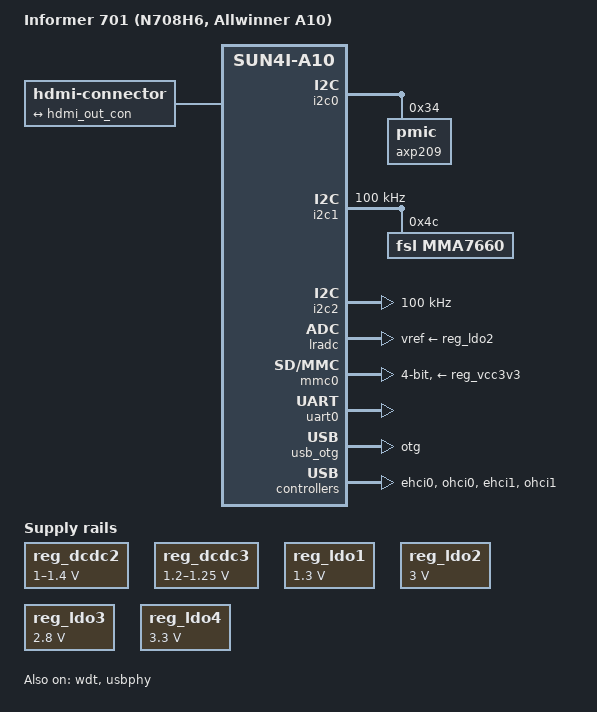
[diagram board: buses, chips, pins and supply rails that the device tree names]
// SPDX-License-Identifier: GPL-2.0+
/*
 * Device tree for the "Informer 701" 7" tablet board
 * (mainboard N708H6 / Allwinner "PAD_MAINCHIP_STD" reference design, rev V1.4)
 *
 * Hardware as read out of the vendor schematic (Shematic.pdf, N708H6):
 *   SoC    : Allwinner A10 (sun4i), FBGA441
 *   PMIC   : X-Powers AXP209 on TWI0 (PB0/PB1), IRQ -> NMI
 *   DRAM   : 4x 1Gbit x8 DDR3 (H5TQ1G83BFR / K4B1G0846E) = 512 MiB, 32 bit bus
 *   NAND   : Samsung K9HCG08U0M (MLC, 4 CE) on NFC
 *   UART0  : PB22/PB23 -> test points TP20 (TX) / TP21 (RX), 115200 8N1
 *   mmc0   : external microSD (TF_CARD), PF0-PF5, card detect PH1 (SD0-DET#)
 *   keys   : LRADC0 ladder NEXT/PREV/VOL+/VOL-/HOME/ESC/ENTER
 *   power  : AXP209 PWRON <- POWER button, UBOOT_SEL pin -> "UBOOT" button (FEL)
 *
 * Console-only configuration: LCD/camera/NAND are intentionally left disabled.
 *
 * Enabled here on purpose (b021+):
 *   TWI1  (PB18/PB19) - accelerometer MMA7660FC (U48) at 0x4c, sheet P16
 *   TWI2  (PB20/PB21) - capacitive touch controller (U24), sheet P17
 *   USB0  - OTG: gadget networking + SSH over the same micro-USB cable
 *   USB2  - host port wired to the desoldered WM-294 WiFi module footprint
 *           (DP2/DM2); VBUS switch is driven by USB2-DRV = PH3 (sheet P16),
 *           so a USB socket soldered there gets power and works as a host port.
 *   USB1  - host port, not routed on this board.
 */

/dts-v1/;
#include "sun4i-a10.dtsi"
#include "sunxi-common-regulators.dtsi"

#include <dt-bindings/gpio/gpio.h>
#include <dt-bindings/input/input.h>
#include <dt-bindings/interrupt-controller/irq.h>

/ {
	model = "Informer 701 (N708H6, Allwinner A10)";
	compatible = "informer,informer-701", "allwinner,sun4i-a10";

	aliases {
		serial0 = &uart0;
		mmc0 = &mmc0;
		/* детерминированная нумерация /dev/i2c-N: i2c0 = TWI0 (AXP209),
		 * i2c1 = TWI1 (акселерометр MMA7660), i2c2 = TWI2 (тачскрин).
		 * Без aliases ядро назначает номера в порядке probe - на практике
		 * то же самое, но так надёжнее (i2c-core берёт id из alias). */
		i2c0 = &i2c0;
		i2c1 = &i2c1;
		i2c2 = &i2c2;
	};

	chosen {
		stdout-path = "serial0:115200n8";
	};

	/* HDMI-разъём (лист P18 "HDMI"). Узел нужен драйверу sun4i_hdmi:
	 * sun4i_hdmi_get_ddc() ищет remote-узел port@1 и берёт из него
	 * "ddc-i2c-bus"; без remote-узла bind падает с -EINVAL. Поэтому узел
	 * описан всегда, а сам HDMI включается статусами &de и &hdmi (в
	 * варианте DTB "hdmi"). Так же сделано во всех A10-платах mainline. */
	hdmi-connector {
		compatible = "hdmi-connector";
		type = "a";

		port {
			hdmi_con_in: endpoint {
				remote-endpoint = <&hdmi_out_con>;
			};
		};
	};
};

&hdmi_out {
	hdmi_out_con: endpoint {
		remote-endpoint = <&hdmi_con_in>;
	};
};

&cpu0 {
	cpu-supply = <&reg_dcdc2>;
	/* Все точки OPP @ 1.4 В (конфигурация lowopp, проверена на плате в
	 * b015/b016): штатная таблица A10 (912@1350, 864@1300, 624@1250 мВ) на
	 * этой плате при питании от USB нестабильна - убивает снижение VDD-CPU
	 * ниже 1.4 В, а не перестройка pll-core (cftest на flatvolt/lowopp
	 * доказал, что переходы частоты работают). */
	operating-points = <1008000 1400000
			     912000 1400000
			     864000 1400000
			     624000 1400000>;
};

&i2c0 {
	status = "okay";

	axp209: pmic@34 {
		reg = <0x34>;
		interrupts = <0>;	/* NMI */
	};
};

#include "axp209.dtsi"

/* ------------------------------------------------------------------ TWI1/TWI2
 * Лист P16 "WIFI-GSENSOR": акселерометр U48 = Freescale MMA7660FC (SOP10),
 * 7-битный адрес 0x4c; SDA -> TWI1-SDA, SCL -> TWI1-SCK, DVDD/AVDD -> VCC-3V3
 * (некоммутируемая рельса, поэтому чип жив всегда). INT1 -> PH0 (GS-INT1),
 * INT2 -> PI10 (GS-INT2) - драйвер mma7660 работает опросом, они не нужны.
 * Лист P3 "PIO ASSIGNMENT": TWI1_SCK = PB18, TWI1_SDA = PB19,
 *                           TWI2_SCK = PB20, TWI2_SDA = PB21.
 * Лист P17 "CAP_TP": контроллер тачскрина U24 сидит на TWI2 - шина включена
 * заранее, узел самого тача добавим, когда будет известна модель и подключена
 * панель (в ядре есть драйвер FT5x06: CONFIG_TOUCHSCREEN_EDT_FT5X06).
 * Внешние подтяжки линий по схеме НЕ установлены (R112/R150/R152 = NC),
 * поэтому включены внутренние подтяжки PB18-PB21 (bias-pull-up).
 */
&i2c1_pins {
	bias-pull-up;
};

&i2c2_pins {
	bias-pull-up;
};

&i2c1 {
	clock-frequency = <100000>;
	status = "okay";

	mma7660: accelerometer@4c {
		compatible = "fsl,mma7660";
		reg = <0x4c>;
	};
};

&i2c2 {
	clock-frequency = <100000>;
	status = "okay";
};

/* LRADC key ladder (sheet 18 "HDMI-KEY"):
 * NEXT 0.19V  PREV 0.39V  VOL+ 0.60V  VOL- 0.80V
 * HOME 0.98V  ESC  1.18V  ENTER 1.40V
 */
&lradc {
	vref-supply = <&reg_ldo2>;
	status = "okay";

	button-190 {
		label = "Next";
		linux,code = <KEY_NEXT>;
		channel = <0>;
		voltage = <190000>;
	};

	button-390 {
		label = "Prev";
		linux,code = <KEY_PREVIOUS>;
		channel = <0>;
		voltage = <390000>;
	};

	button-600 {
		label = "Volume Up";
		linux,code = <KEY_VOLUMEUP>;
		channel = <0>;
		voltage = <600000>;
	};

	button-800 {
		label = "Volume Down";
		linux,code = <KEY_VOLUMEDOWN>;
		channel = <0>;
		voltage = <800000>;
	};

	button-980 {
		label = "Home";
		linux,code = <KEY_HOMEPAGE>;
		channel = <0>;
		voltage = <980000>;
	};

	button-1180 {
		label = "Esc";
		linux,code = <KEY_ESC>;
		channel = <0>;
		voltage = <1180000>;
	};

	button-1400 {
		label = "Enter";
		linux,code = <KEY_ENTER>;
		channel = <0>;
		voltage = <1400000>;
	};
};

/* Boot medium: microSD in the TF slot (SDC0). Also used for the rootfs. */
&mmc0 {
	vmmc-supply = <&reg_vcc3v3>;
	bus-width = <4>;
	/* Линия SD0-DET# (PH1) на плате не работает как card-detect
	 * (плавающий/инверсный уровень), из-за чего mmc-ядро считало
	 * «карты нет» и вечность ждало root. Носитель загрузочный и
	 * всегда на месте - просто игнорируем CD. */
	broken-cd;
	/* cd-gpios = <&pio 7 1 GPIO_ACTIVE_LOW>; */
	status = "okay";
};

/* AXP209 rails, voltages per schematic cover sheet ("Power Supply" table):
 *   DCDC2 = VDD-CPU  (1.25 V nominal, DVFS 1.0-1.4 V)
 *   DCDC3 = VDD-INT  (1.2 V nominal)
 *   LDO1  = RTC      (1.3 V)
 *   LDO2  = AVCC     (3.0 V)
 *   LDO3  = CSI0-IO  (2.8 V)
 *   LDO4  = CSI1-IO  (3.3 V)
 * DRAM 1.5 V and the 3.3 V system rail come from always-on SY8008 buck
 * converters, no software control needed.
 */
&reg_dcdc2 {
	regulator-always-on;
	regulator-min-microvolt = <1000000>;
	regulator-max-microvolt = <1400000>;
	regulator-name = "vdd-cpu";
};

&reg_dcdc3 {
	regulator-always-on;
	regulator-min-microvolt = <1200000>;
	regulator-max-microvolt = <1250000>;
	regulator-name = "vdd-int";
};

&reg_ldo1 {
	regulator-always-on;
	regulator-min-microvolt = <1300000>;
	regulator-max-microvolt = <1300000>;
	regulator-name = "vdd-rtc";
};

&reg_ldo2 {
	regulator-always-on;
	regulator-min-microvolt = <3000000>;
	regulator-max-microvolt = <3000000>;
	regulator-name = "avcc";
};

&reg_ldo3 {
	regulator-always-on;
	regulator-min-microvolt = <2800000>;
	regulator-max-microvolt = <2800000>;
	regulator-name = "csi0-io";
};

&reg_ldo4 {
	regulator-always-on;
	regulator-min-microvolt = <3300000>;
	regulator-max-microvolt = <3300000>;
	regulator-name = "csi1-io";
};

&uart0 {
	pinctrl-names = "default";
	pinctrl-0 = <&uart0_pb_pins>;	/* PB22 = TX (TP20), PB23 = RX (TP21) */
	status = "okay";
};

/* Watchdog ВКЛЮЧЁН (с b015): sunxi_wdt регистрирует arm_pm_restart, без него
 * `reboot` печатал "Restarting system" и плата стояла до кнопки reset. Сам
 * таймер при probe НЕ стартует - только по open("/dev/watchdog"), поэтому
 * спонтанных рестартов нет (проверено на плате в b015/b016). Опциональная
 * защита от зависания включается командой `wdt on`. */
&wdt {
	status = "okay";
};

/* --------------------------------------------------------------------- USB
 * По схеме N708H6 (Shematic.pdf):
 *   P03 PIO ASSIGNMENT:
 *     PB9  GPIO_OUT  USB0-DRV     - включение VBUS для OTG-порта (host mode)
 *     PH4  GPIO_IN   USB0-IDDET   - ID OTG-порта (в ПК = высокий -> device)
 *     PH5  GPIO_IN   USB0-VBUSDET - детектор VBUS на OTG-порту
 *     PH6  GPIO_OUT  USB1-DRV     - VBUS порта USB1
 *     PH3  GPIO_OUT  USB2-DRV     - VBUS порта USB2
 *
 *   ВНИМАНИЕ про USB2-DRV: в таблице P03 строка разбита на две текстовые
 *   строки, и сеть USB2-DRV стоит в колонке группы PH (PH3), а не PD.
 *   PD21 = LCD0_D21 и PD22 = LCD0_D22 - это линии LCD, к USB они отношения
 *   не имеют (проверено сопоставлением колонок: PD-группа @102/@113,
 *   PH-группа @146/@156/@169). В сборках b017/b018 здесь ошибочно был PD22;
 *   исправлено на PH3 в b020. На P16 сеть USB2-DRV идёт через R163 100K
 *   (SOT-23 ключ питания рядом с площадкой WiFi-модуля).
 *   P15 USB-CARD: mini-USB jack "usb_minib_H4_4A" -> DP0/DM0 = USB0 (OTG),
 *       рядом TF-слот и SD0-DET#; питание - USBVBUS через ограничитель тока.
 *   P16 WIFI-GSENSOR: разъём "WIFI_WM294H1_5A" -> DP2/DM2 = USB2 HOST,
 *       плюс WIFI-VCC, WIFI-HOST-WAKEUP, WIFI-SHDN#, WIFI-RESET#. Модуль WiFi
 *       на этой плате выпаян; на его место планируется запаять USB-разъём -
 *       то есть это готовый порт USB2 HOST (VBUS включает PH3).
 *   USB1 (DP1/DM1) на разъёмы не выведен, но контроллер оставляем включённым.
 * Соответствие контроллеров A10: USB0 = musb (OTG), USB1 = ehci0/ohci0,
 * USB2 = ehci1/ohci1.
 */
&otg_sram {
	status = "okay";
};

&reg_usb0_vbus {
	gpio = <&pio 1 9 GPIO_ACTIVE_HIGH>;	/* PB9 = USB0-DRV */
	status = "okay";
};

&reg_usb1_vbus {
	gpio = <&pio 7 6 GPIO_ACTIVE_HIGH>;	/* PH6 = USB1-DRV */
	status = "okay";
};

&reg_usb2_vbus {
	gpio = <&pio 7 3 GPIO_ACTIVE_HIGH>;	/* PH3 = USB2-DRV (b020: было PD22 - ошибка) */
	status = "okay";
};

&usbphy {
	usb0_id_det-gpios = <&pio 7 4 (GPIO_ACTIVE_HIGH | GPIO_PULL_UP)>;
	usb0_vbus_det-gpios = <&pio 7 5 (GPIO_ACTIVE_HIGH | GPIO_PULL_DOWN)>;
	usb0_vbus-supply = <&reg_usb0_vbus>;
	usb1_vbus-supply = <&reg_usb1_vbus>;
	usb2_vbus-supply = <&reg_usb2_vbus>;
	status = "okay";
};

&usb_otg {
	/* "otg": при подключении к ПК (ID высокий) порт работает как gadget -
	 * сеть/SSH по USB; с OTG-кабелем и ID на землю - как host.
	 * Вариант с принудительным gadget (dr_mode = "peripheral") собирается
	 * отдельным DTB на случай, если линия PH4 на плате не разведена. */
	dr_mode = "otg";
	status = "okay";
};

&ehci0 {
	status = "okay";
};

&ohci0 {
	status = "okay";
};

&ehci1 {
	status = "okay";
};

&ohci1 {
	status = "okay";
};
